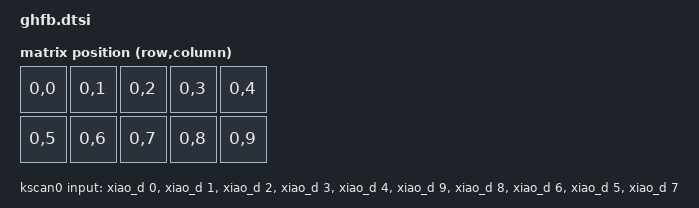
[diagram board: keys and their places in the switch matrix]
/*
 * Copyright (c) 2020 The ZMK Contributors
 *
 * SPDX-License-Identifier: MIT
 */

#include <dt-bindings/zmk/matrix_transform.h>

/ {

	chosen {
		zmk,kscan = &kscan0;
		zmk,matrix_transform = &default_transform;
	};

	default_transform: keymap_transform_0 {
		compatible = "zmk,matrix-transform";
		columns = <10>;
		rows = <1>;
		map = <
		RC(0,0)  RC(0,1)  RC(0,2)  RC(0,3)  RC(0,4)
		RC(0,5)  RC(0,6)  RC(0,7)  RC(0,8)  RC(0,9)
		>;
	};

	kscan0: kscan_buttons {
		compatible = "zmk,kscan-gpio-direct";
		label = "BUTTONS";
		poll-period-ms = <1>;
		input-gpios
		= <&xiao_d  0 (GPIO_ACTIVE_LOW | GPIO_PULL_UP)>
		, <&xiao_d  1 (GPIO_ACTIVE_LOW | GPIO_PULL_UP)>
		, <&xiao_d  2 (GPIO_ACTIVE_LOW | GPIO_PULL_UP)>
		, <&xiao_d  3 (GPIO_ACTIVE_LOW | GPIO_PULL_UP)>
		, <&xiao_d  4 (GPIO_ACTIVE_LOW | GPIO_PULL_UP)>
		, <&xiao_d  9 (GPIO_ACTIVE_LOW | GPIO_PULL_UP)>
		, <&xiao_d  8 (GPIO_ACTIVE_LOW | GPIO_PULL_UP)>
		, <&xiao_d  6 (GPIO_ACTIVE_LOW | GPIO_PULL_UP)>
		, <&xiao_d  5 (GPIO_ACTIVE_LOW | GPIO_PULL_UP)>
		, <&xiao_d  7 (GPIO_ACTIVE_LOW | GPIO_PULL_UP)>
		;
	};
};
